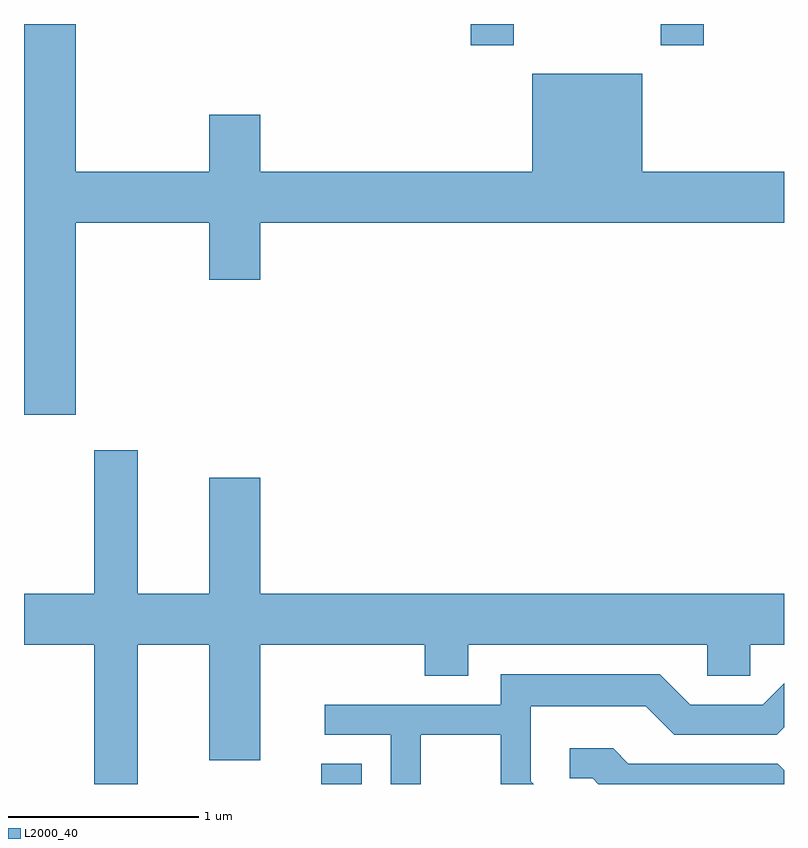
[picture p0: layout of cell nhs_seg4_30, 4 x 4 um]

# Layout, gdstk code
import gdstk
lib = gdstk.Library(unit=1e-6, precision=1e-09)
def R(c, l, rs):  # rectangles x0, y0, x1, y1
    for r in rs: c.add(gdstk.rectangle(r[:2], r[2:], *l))
def P(c, l, *ps):  # polygons
    for p in ps: c.add(gdstk.Polygon(p, *l))
L2000_40 = (2000, 40)

nhs_seg4_30 = lib.new_cell('nhs_seg4_30')
R(nhs_seg4_30, L2000_40, [(187.176,1313.982,187.389,1314.089), (187.961,1317.871,188.189,1317.982), (188.961,1317.871,189.189,1317.982)])
P(nhs_seg4_30, L2000_40, [(185.884,1316.936),(186.586,1316.936),(186.586,1316.636),(186.854,1316.636),(186.854,1316.936),(189.611,1316.936),(189.611,1317.204),(188.864,1317.204),(188.864,1317.719),(188.286,1317.719),(188.286,1317.204),(186.854,1317.204),(186.854,1317.504),(186.586,1317.504),(186.586,1317.204),(185.884,1317.204),(185.884,1317.982),(185.611,1317.982),(185.611,1315.926),(185.884,1315.926)],
  [(186.209,1314.716),(186.586,1314.716),(186.586,1314.106),(186.854,1314.106),(186.854,1314.716),(187.721,1314.716),(187.721,1314.551),(187.949,1314.551),(187.949,1314.716),(189.206,1314.716),(189.206,1314.551),(189.434,1314.551),(189.434,1314.716),(189.611,1314.716),(189.611,1314.984),(186.854,1314.984),(186.854,1315.594),(186.586,1315.594),(186.586,1314.984),(186.209,1314.984),(186.209,1315.739),(185.981,1315.739),(185.981,1314.984),(185.611,1314.984),(185.611,1314.716),(185.981,1314.716),(185.981,1313.982),(186.209,1313.982)],
  [(187.699,1314.241),(188.121,1314.241),(188.121,1313.982),(188.294,1313.982),(188.279,1313.997),(188.279,1314.391),(188.884,1314.391),(189.034,1314.241),(189.572,1314.241),(189.611,1314.28),(189.611,1314.511),(189.499,1314.399),(189.117,1314.399),(188.957,1314.559),(188.121,1314.559),(188.121,1314.399),(187.193,1314.399),(187.193,1314.241),(187.541,1314.241),(187.541,1313.982),(187.699,1313.982)],
  [(189.611,1314.055),(189.577,1314.089),(188.792,1314.089),(188.712,1314.169),(188.483,1314.169),(188.483,1314.011),(188.604,1314.011),(188.633,1313.982),(189.611,1313.982)])

lib.write_gds('nhs_seg4_30.gds')
